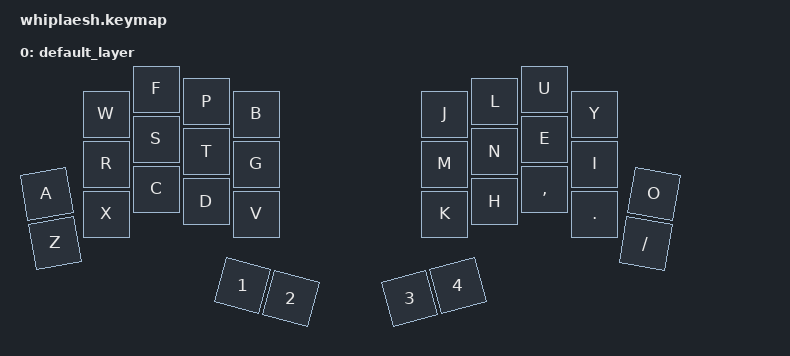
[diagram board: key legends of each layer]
#include <behaviors.dtsi>
#include <dt-bindings/zmk/keys.h>
#include <dt-bindings/zmk/mouse.h>

/ {
    combos {
        compatible = "zmk,combos";

        combo_bootloaderL {
            timeout-ms = <50>;
            key-positions = <0 4 10 14>;
            bindings = <&bootloader>;
        };

        combo_bootloaderR {
            timeout-ms = <50>;
            key-positions = <5 9 15 19>;
            bindings = <&bootloader>;
        };

        combo_studio {
            timeout-ms = <50>;
            key-positions = <2 3 4 5>;
            bindings = <&studio_unlock>;
        };

        wf_q {
            bindings = <&kp Q>;
            key-positions = <0 1>;
        };

        uy_quote {
            bindings = <&kp SINGLE_QUOTE>;
            key-positions = <7 6>;
        };
    };
};

/ {
    keymap {
        compatible = "zmk,keymap";

        default_layer {
            bindings = <
       &kp W  &kp F  &kp P   &kp B          &kp J  &kp L      &kp U    &kp Y
&kp A  &kp R  &kp S  &kp T   &kp G   &kp M  &kp N  &kp E      &kp I    &kp O
&kp Z  &kp X  &kp C  &kp D   &kp V   &kp K  &kp H  &kp COMMA  &kp DOT  &kp FSLH
                     &kp N1  &kp N2                           &kp N3   &kp N4
            >;
        };

        lower_layer { status = "reserved"; };

        raise_layer { status = "reserved"; };

        adjust_layer { status = "reserved"; };
    };
};
